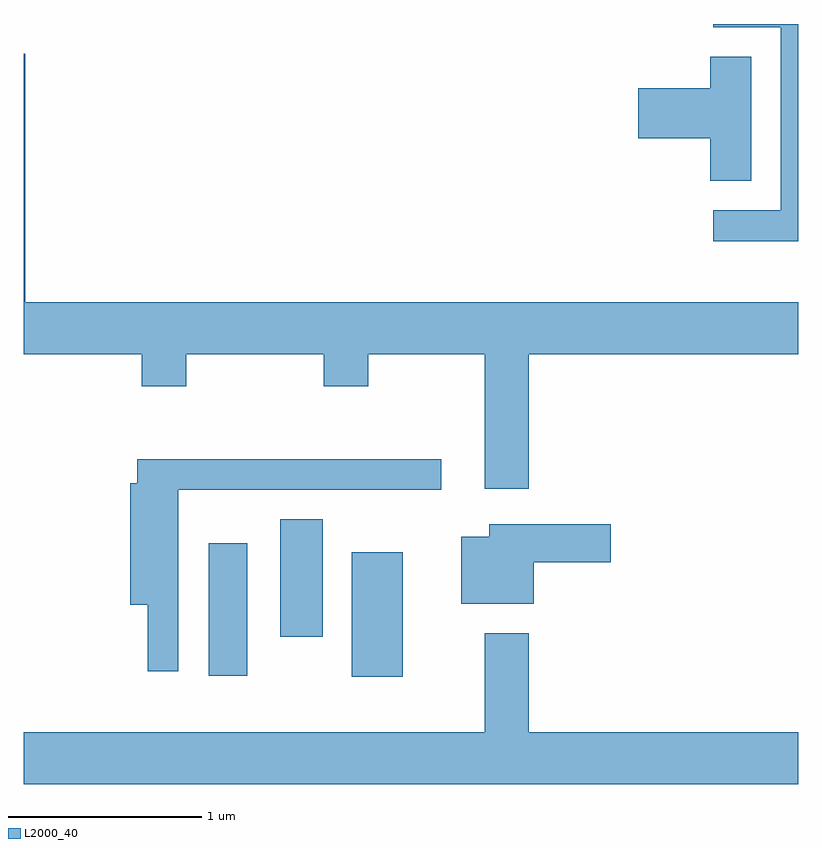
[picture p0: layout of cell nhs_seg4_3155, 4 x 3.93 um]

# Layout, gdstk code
import gdstk
lib = gdstk.Library(unit=1e-6, precision=1e-09)
def R(c, l, rs):  # rectangles x0, y0, x1, y1
    for r in rs: c.add(gdstk.rectangle(r[:2], r[2:], *l))
def P(c, l, *ps):  # polygons
    for p in ps: c.add(gdstk.Polygon(p, *l))
L2000_40 = (2000, 40)

nhs_seg4_3155 = lib.new_cell('nhs_seg4_3155')
R(nhs_seg4_3155, L2000_40, [(279.306,1308.611,279.569,1309.254), (278.566,1308.616,278.764,1309.299), (278.936,1308.816,279.154,1309.424)])
P(nhs_seg4_3155, L2000_40, [(281.611,1311.982),(281.173,1311.982),(281.173,1311.966),(281.521,1311.966),(281.521,1311.019),(281.173,1311.019),(281.173,1310.861),(281.611,1310.861)],
  [(280.219,1310.276),(281.611,1310.276),(281.611,1310.544),(277.619,1310.544),(277.619,1311.829),(277.611,1311.829),(277.611,1310.276),(278.221,1310.276),(278.221,1310.111),(278.449,1310.111),(278.449,1310.276),(279.161,1310.276),(279.161,1310.111),(279.389,1310.111),(279.389,1310.276),(279.991,1310.276),(279.991,1309.581),(280.219,1309.581)],
  [(281.369,1311.814),(281.156,1311.814),(281.156,1311.649),(280.786,1311.649),(280.786,1311.391),(281.156,1311.391),(281.156,1311.171),(281.369,1311.171)],
  [(278.409,1309.576),(279.768,1309.576),(279.768,1309.734),(278.196,1309.734),(278.196,1309.609),(278.161,1309.609),(278.161,1308.981),(278.251,1308.981),(278.251,1308.638),(278.409,1308.638)],
  [(280.244,1309.201),(280.644,1309.201),(280.644,1309.399),(280.016,1309.399),(280.016,1309.334),(279.871,1309.334),(279.871,1308.986),(280.244,1308.986)],
  [(281.611,1308.324),(280.219,1308.324),(280.219,1308.834),(279.991,1308.834),(279.991,1308.324),(277.611,1308.324),(277.611,1308.056),(281.611,1308.056)])

lib.write_gds('nhs_seg4_3155.gds')
